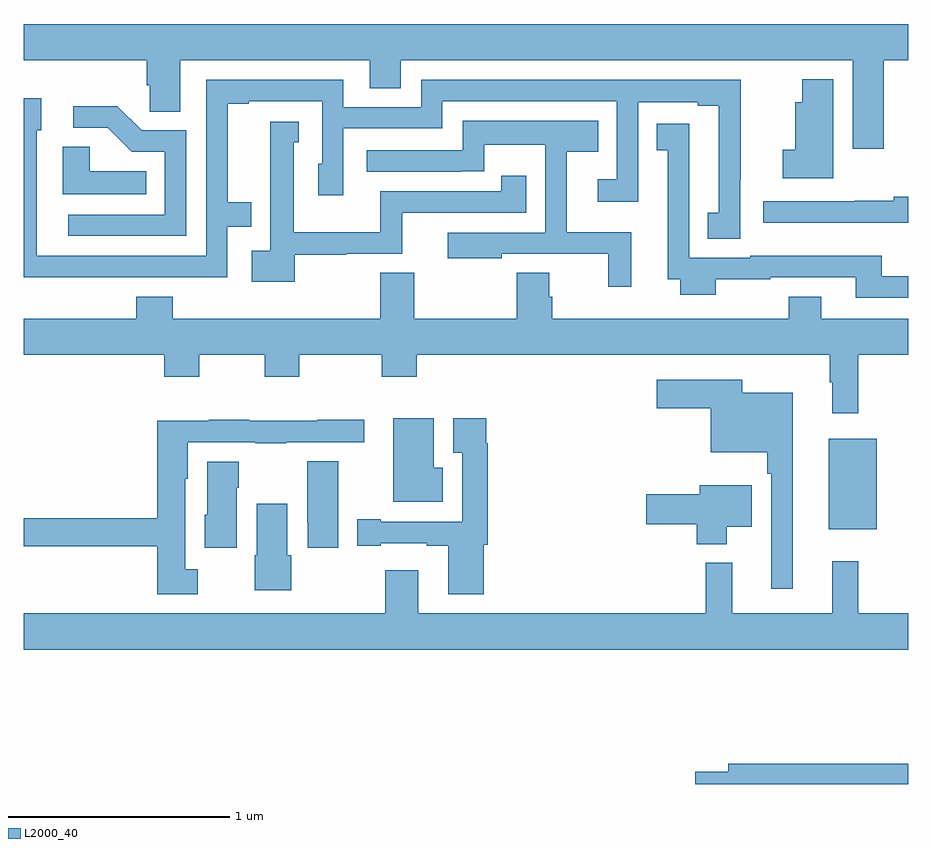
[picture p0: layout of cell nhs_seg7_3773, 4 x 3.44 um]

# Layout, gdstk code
import gdstk
lib = gdstk.Library(unit=1e-6, precision=1e-09)
def R(c, l, rs):  # rectangles x0, y0, x1, y1
    for r in rs: c.add(gdstk.rectangle(r[:2], r[2:], *l))
def P(c, l, *ps):  # polygons
    for p in ps: c.add(gdstk.Polygon(p, *l))
L2000_40 = (2000, 40)

nhs_seg7_3773 = lib.new_cell('nhs_seg7_3773')
R(nhs_seg7_3773, L2000_40, [(354.641,1009.151,354.856,1009.561)])
P(nhs_seg7_3773, L2000_40, [(354.889,1011.272),(355,1011.272),(355,1011.436),(351,1011.436),(351,1011.272),(351.557,1011.272),(351.557,1011.16),(351.571,1011.16),(351.571,1011.04),(351.709,1011.04),(351.709,1011.272),(352.565,1011.272),(352.565,1011.145),(352.705,1011.145),(352.705,1011.272),(354.749,1011.272),(354.749,1010.871),(354.889,1010.871)],
  [(354.661,1011.187),(354.521,1011.187),(354.521,1011.082),(354.488,1011.082),(354.488,1010.868),(354.432,1010.868),(354.432,1010.738),(354.661,1010.738)],
  [(351.425,1010.292),(351.921,1010.292),(351.921,1010.52),(352.03,1010.52),(352.03,1010.629),(351.923,1010.629),(351.923,1011.075),(352.018,1011.075),(352.018,1011.087),(352.35,1011.087),(352.35,1010.805),(352.331,1010.805),(352.331,1010.661),(352.446,1010.661),(352.446,1010.964),(352.893,1010.964),(352.893,1011.087),(353.682,1011.087),(353.682,1010.734),(353.595,1010.734),(353.595,1010.633),(353.778,1010.633),(353.778,1011.083),(354.047,1011.083),(354.047,1011.066),(354.143,1011.066),(354.143,1010.583),(354.094,1010.583),(354.094,1010.464),(354.24,1010.464),(354.24,1010.731),(354.243,1010.731),(354.243,1011.184),(353.785,1011.184),(353.785,1011.183),(352.797,1011.183),(352.797,1011.06),(352.446,1011.06),(352.446,1011.183),(351.825,1011.183),(351.825,1010.388),(351.06,1010.388),(351.06,1010.955),(351.079,1010.955),(351.079,1011.1),(351,1011.1),(351,1010.291),(351.425,1010.291)],
  [(351.735,1010.955),(351.534,1010.955),(351.424,1011.065),(351.225,1011.065),(351.225,1010.967),(351.381,1010.967),(351.489,1010.859),(351.639,1010.859),(351.639,1010.574),(351.201,1010.574),(351.201,1010.478),(351.735,1010.478)],
  [(353.746,1010.494),(353.455,1010.494),(353.455,1010.858),(353.597,1010.858),(353.597,1010.998),(352.986,1010.998),(352.986,1010.865),(352.551,1010.865),(352.551,1010.769),(352.979,1010.769),(352.979,1010.77),(353.082,1010.77),(353.082,1010.891),(353.358,1010.891),(353.358,1010.493),(352.917,1010.493),(352.917,1010.378),(353.161,1010.378),(353.161,1010.397),(353.644,1010.397),(353.644,1010.247),(353.746,1010.247)],
  [(352.225,1010.392),(352.458,1010.392),(352.458,1010.397),(352.712,1010.397),(352.712,1010.583),(353.273,1010.583),(353.273,1010.749),(353.16,1010.749),(353.16,1010.679),(352.613,1010.679),(352.613,1010.494),(352.222,1010.494),(352.222,1010.901),(352.243,1010.901),(352.243,1010.994),(352.115,1010.994),(352.115,1010.506),(352.116,1010.506),(352.116,1010.41),(352.032,1010.41),(352.032,1010.27),(352.225,1010.27)],
  [(355,1010.295),(354.88,1010.295),(354.88,1010.389),(354.285,1010.389),(354.285,1010.379),(354.009,1010.379),(354.009,1010.662),(354.01,1010.662),(354.01,1010.986),(353.863,1010.986),(353.863,1010.865),(353.912,1010.865),(353.912,1010.283),(353.969,1010.283),(353.969,1010.213),(354.129,1010.213),(354.129,1010.282),(354.375,1010.282),(354.375,1010.292),(354.761,1010.292),(354.761,1010.199),(355,1010.199)],
  [(351.554,1010.77),(351.298,1010.77),(351.298,1010.882),(351.176,1010.882),(351.176,1010.666),(351.554,1010.666)],
  [(355,1010.654),(354.935,1010.654),(354.935,1010.637),(354.757,1010.637),(354.757,1010.634),(354.345,1010.634),(354.345,1010.537),(355,1010.537)],
  [(354.773,1009.94),(355,1009.94),(355,1010.104),(354.607,1010.104),(354.607,1010.203),(354.46,1010.203),(354.46,1010.104),(353.39,1010.104),(353.39,1010.202),(353.377,1010.202),(353.377,1010.312),(353.23,1010.312),(353.23,1010.104),(352.767,1010.104),(352.767,1010.312),(352.612,1010.312),(352.612,1010.104),(351.674,1010.104),(351.674,1010.203),(351.509,1010.203),(351.509,1010.104),(351,1010.104),(351,1009.94),(351.635,1009.94),(351.635,1009.841),(351.795,1009.841),(351.795,1009.94),(352.09,1009.94),(352.09,1009.841),(352.245,1009.841),(352.245,1009.94),(352.618,1009.94),(352.618,1009.841),(352.778,1009.841),(352.778,1009.94),(354.645,1009.94),(354.645,1009.817),(354.656,1009.817),(354.656,1009.677),(354.773,1009.677)],
  [(354.478,1009.768),(354.25,1009.768),(354.25,1009.828),(353.862,1009.828),(353.862,1009.699),(354.107,1009.699),(354.107,1009.499),(354.361,1009.499),(354.361,1009.403),(354.381,1009.403),(354.381,1008.882),(354.478,1008.882)],
  [(353.08,1009.082),(353.099,1009.082),(353.099,1009.541),(353.092,1009.541),(353.092,1009.654),(352.943,1009.654),(352.943,1009.498),(352.983,1009.498),(352.983,1009.185),(352.615,1009.185),(352.615,1009.198),(352.508,1009.198),(352.508,1009.077),(352.615,1009.077),(352.615,1009.089),(352.823,1009.089),(352.823,1009.077),(352.919,1009.077),(352.919,1008.858),(353.08,1008.858)],
  [(352.894,1009.43),(352.855,1009.43),(352.855,1009.654),(352.67,1009.654),(352.67,1009.277),(352.894,1009.277)],
  [(351.787,1008.97),(351.73,1008.97),(351.73,1009.38),(351.742,1009.38),(351.742,1009.545),(352.048,1009.545),(352.048,1009.54),(352.187,1009.54),(352.187,1009.545),(352.54,1009.545),(352.54,1009.646),(352.327,1009.646),(352.327,1009.643),(352.021,1009.643),(352.021,1009.646),(351.838,1009.646),(351.838,1009.643),(351.605,1009.643),(351.605,1009.202),(351,1009.202),(351,1009.074),(351.605,1009.074),(351.605,1008.857),(351.787,1008.857)],
  [(352.423,1009.46),(352.283,1009.46),(352.283,1009.18),(352.284,1009.18),(352.284,1009.068),(352.423,1009.068)],
  [(351.964,1009.34),(351.972,1009.34),(351.972,1009.456),(351.83,1009.456),(351.83,1009.218),(351.818,1009.218),(351.818,1009.068),(351.964,1009.068)],
  [(354.178,1009.163),(354.292,1009.163),(354.292,1009.351),(354.056,1009.351),(354.056,1009.311),(353.814,1009.311),(353.814,1009.174),(354.044,1009.174),(354.044,1009.085),(354.178,1009.085)],
  [(352.21,1009.035),(352.192,1009.035),(352.192,1009.267),(352.055,1009.267),(352.055,1009.035),(352.046,1009.035),(352.046,1008.875),(352.21,1008.875)],
  [(355,1008.772),(354.773,1008.772),(354.773,1009.006),(354.656,1009.006),(354.656,1008.772),(354.203,1008.772),(354.203,1009),(354.085,1009),(354.085,1008.772),(352.783,1008.772),(352.783,1008.967),(352.636,1008.967),(352.636,1008.772),(351,1008.772),(351,1008.608),(355,1008.608)],
  [(355,1008.092),(354.185,1008.092),(354.185,1008.056),(354.036,1008.056),(354.036,1008),(355,1008)])

lib.write_gds('nhs_seg7_3773.gds')
